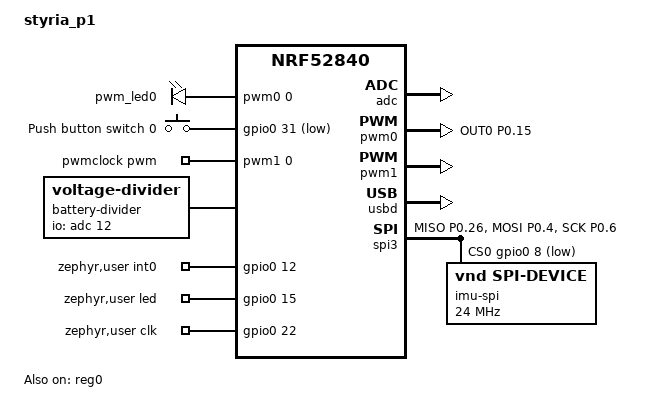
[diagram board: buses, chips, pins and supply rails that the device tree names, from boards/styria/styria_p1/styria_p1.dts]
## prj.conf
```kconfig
#CONFIG_NCS_SAMPLES_DEFAULTS
CONFIG_ASSERT=y
CONFIG_ASSERT_NO_COND_INFO=y
CONFIG_ASSERT_NO_MSG_INFO=y
CONFIG_RESET_ON_FATAL_ERROR=y

CONFIG_NCS_APPLICATION_BOOT_BANNER_STRING="SlimeVR-Tracker-nRF"
#CONFIG_NCS_BOOT_BANNER=n
CONFIG_BOOT_BANNER=n

CONFIG_ESB=y
#need to enable for nRF54L
CONFIG_NRFX_DPPI10=y

CONFIG_ADC=y
CONFIG_ADC_NRFX_SAADC=y
CONFIG_FPU=y
CONFIG_I2C=y
CONFIG_SPI=y
CONFIG_PINCTRL=y

CONFIG_NVS=y
CONFIG_NVS_LOOKUP_CACHE=y
CONFIG_NVS_INIT_BAD_MEMORY_REGION=y

CONFIG_POWEROFF=y
CONFIG_REBOOT=y

CONFIG_FLASH=y
CONFIG_FLASH_PAGE_LAYOUT=y
CONFIG_FLASH_MAP=y

CONFIG_SETTINGS=y
CONFIG_SETTINGS_RUNTIME=y
CONFIG_SETTINGS_NONE=y

CONFIG_MPU_ALLOW_FLASH_WRITE=y

CONFIG_RETAINED_MEM=y

CONFIG_USE_SEGGER_RTT=y
CONFIG_LOG=y
#CONFIG_PRINTK=y
CONFIG_LOG_MODE_DEFERRED=y
CONFIG_LOG_SPEED=y
CONFIG_LOG_BACKEND_RTT=y
CONFIG_CBPRINTF_FP_SUPPORT=y
CONFIG_ADC_LOG_LEVEL_OFF=y
CONFIG_LOG_FUNC_NAME_PREFIX_ERR=y
CONFIG_LOG_BUFFER_SIZE=1536
CONFIG_LOG_BACKEND_UART_AUTOSTART=n
CONFIG_LOG_PROCESS_THREAD_SLEEP_MS=50
CONFIG_LOG_PROCESS_THREAD_STACK_SIZE=1024

CONFIG_PWM=y
CONFIG_GPIO=y

CONFIG_CRC=y

CONFIG_NEWLIB_LIBC=y
CONFIG_NRFX_TIMER1=y

#speed up boot? (use internal rc oscillator)
CONFIG_CLOCK_CONTROL_NRF_K32SRC_RC=y
CONFIG_CLOCK_CONTROL_NRF_K32SRC_RC_CALIBRATION=n
#speed up boot? (synthesize lf clock)
#CONFIG_CLOCK_CONTROL_NRF_K32SRC_SYNTH=y

# dont need it
CONFIG_CRYPTO=n

# set timeout for 25ms, sufficient for ~1000 bytes
CONFIG_I2C_NRFX_TRANSFER_TIMEOUT=25

CONFIG_USB_DEVICE_HID=y
CONFIG_USB_DEVICE_VID=0x1209
CONFIG_USB_DEVICE_PID=0x7692
CONFIG_USB_HID_BOOT_PROTOCOL=y
CONFIG_USB_DEVICE_INITIALIZE_AT_BOOT=n
CONFIG_USB_CDC_ACM=y
CONFIG_UART_INTERRUPT_DRIVEN=y
CONFIG_USB_WORKQUEUE_STACK_SIZE=512

CONFIG_SERIAL=y
CONFIG_CONSOLE=y
CONFIG_RTT_CONSOLE=y
CONFIG_UART_CONSOLE=y
CONFIG_UART_LINE_CTRL=y

CONFIG_LOG=y
CONFIG_USB_DRIVER_LOG_LEVEL_ERR=y
CONFIG_USB_DEVICE_LOG_LEVEL_ERR=y
CONFIG_USB_CDC_ACM_LOG_LEVEL_OFF=y

CONFIG_LOG_BACKEND_UART=y

CONFIG_CONSOLE_SUBSYS=y
CONFIG_CONSOLE_GETLINE=y

CONFIG_NVS_LOG_LEVEL_WRN=y
CONFIG_USB_HID_LOG_LEVEL_WRN=y

CONFIG_USB_DEVICE_SOF=y
CONFIG_USB_HID_REPORTS=256

#CONFIG_USB_HID_POLL_INTERVAL_MS=1
CONFIG_USB_HID_POLL_INTERVAL_MS=0
CONFIG_HID_INTERRUPT_EP_MPS=64
#CONFIG_ENABLE_HID_INT_OUT_EP=y

CONFIG_SYSTEM_WORKQUEUE_STACK_SIZE=256
CONFIG_MAIN_STACK_SIZE=512
#crashing on nrf54l at 512

CONFIG_THREAD_NAME=y

# TODO: because of icm426, this will break things and needs to be raised to at least 3k
CONFIG_HEAP_MEM_POOL_SIZE=2048
CONFIG_ISR_STACK_SIZE=1024

CONFIG_PM_DEVICE=y

CONFIG_USE_SENSOR_CLOCK=y
CONFIG_SENSOR_USE_MAG=n
CONFIG_USE_IMU_WAKE_UP=n
CONFIG_USE_ACTIVE_TIMEOUT=y
CONFIG_ACTIVE_TIMEOUT_DELAY=3600000
CONFIG_SENSOR_LP_TIMEOUT=300000
CONFIG_SENSOR_USE_LOW_POWER_2=n
CONFIG_USER_EXTRA_ACTIONS=y
CONFIG_DISABLE_SENSOR_GPIOS_ON_SHUTDOWN=y
```

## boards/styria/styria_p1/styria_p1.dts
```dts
// Copyright (c) 2024 Nordic Semiconductor ASA
// SPDX-License-Identifier: Apache-2.0

/dts-v1/;
#include <nordic/nrf52840_qiaa.dtsi>

//move to dtsi?
&pinctrl {
	i2c0_default: i2c0_default {
		group1 {
			psels = <NRF_PSEL(TWIM_SDA, 0, 4)>, <NRF_PSEL(TWIM_SCL, 0, 6)>;
			bias-disable;
		};
	};

	i2c0_sleep: i2c0_sleep {
		group1 {
			psels = <NRF_PSEL(TWIM_SDA, 0, 4)>, <NRF_PSEL(TWIM_SCL, 0, 6)>;
			bias-disable;
			low-power-enable;
		};
	};

	pwm0_default: pwm0_default {
		group1 {
			psels = <NRF_PSEL(PWM_OUT0, 0, 15)>;
			nordic,drive-mode = <NRF_DRIVE_D0S1>;
		};
	};

	pwm0_sleep: pwm0_sleep {
		group1 {
			psels = <NRF_PSEL(PWM_OUT0, 0, 15)>;
			low-power-enable;
		};
	};

	pwm1_default: pwm1_default {
		group1 {
			psels = <NRF_PIN_DISCONNECTED>;
		};
	};

	pwm1_sleep: pwm1_sleep {
		group1 {
			psels = <NRF_PIN_DISCONNECTED>;
			low-power-enable;
		};
	};

	spi3_default: spi3_default {
		group1 {
			psels = <NRF_PSEL(SPIM_MISO, 0, 26)>,
					<NRF_PSEL(SPIM_MOSI, 0, 4)>,
					<NRF_PSEL(SPIM_SCK, 0, 6)>;
		};
	};

	spi3_sleep: spi3_sleep {
		group1 {
			psels = <NRF_PSEL(SPIM_MISO, 0, 26)>,
					<NRF_PSEL(SPIM_MOSI, 0, 4)>,
					<NRF_PSEL(SPIM_SCK, 0, 6)>;
			low-power-enable;
		};
	};
};
//end

/ {
	model = "styria_p1";
	compatible = "styria_p1";

	chosen {
		zephyr,sram = &sram0;
		zephyr,flash = &flash0;
		zephyr,console = &cdc_acm_uart0;
		zephyr,shell-uart = &cdc_acm_uart0;
	};

	pwmleds {
		compatible = "pwm-leds";
		pwm_led0: pwm_led_0 {
			pwms = <&pwm0 0 PWM_MSEC(1) PWM_POLARITY_NORMAL>;
		};
	};

	buttons {
		compatible = "gpio-keys";
		button0: button_0 {
			gpios = <&gpio0 31 (GPIO_PULL_UP | GPIO_ACTIVE_LOW)>;
			label = "Push button switch 0";
		};
	};

	aliases {
		sw0 = &button0; // Uncomment to Enable SW0
		pwm-led0 = &pwm_led0;
	};

	pwmclock: pwmclock {
		compatible = "pwm-clock";
		#clock-cells = <1>;
		pwms = <&pwm1 0 PWM_HZ(32768) PWM_POLARITY_NORMAL>;
	};

	battery-divider {
		compatible = "voltage-divider";
		status = "okay";
		io-channels = <&adc 12>; // Measure VDDHDIV5
		output-ohms = <1>;
		full-ohms = <5>;
	};

	zephyr,user {
		int0-gpios = <&gpio0 12 0>;
		led-gpios = <&gpio0 15 GPIO_OPEN_SOURCE>;
		clk-gpios = <&gpio0 22 GPIO_OPEN_DRAIN>; // Uncomment and set to correct pin if using an external clock (crystal oscillator)
	};

};

&reg0 {
	status = "okay";
};

&reg1 {
	regulator-initial-mode = <NRF5X_REG_MODE_DCDC>;
};

&adc {
	status = "okay";
};

&gpiote {
	status = "okay";
};

&gpio0 {
	status = "okay";
};

&gpio1 {
	status = "okay";
};

&pwm0 {
	status = "okay";
	pinctrl-0 = <&pwm0_default>;
	pinctrl-1 = <&pwm0_sleep>;
	pinctrl-names = "default", "sleep";
};

&pwm1 {
	status = "okay";
	pinctrl-0 = <&pwm1_default>;
	pinctrl-1 = <&pwm1_sleep>;
	pinctrl-names = "default", "sleep";
};

zephyr_udc0: &usbd {
	compatible = "nordic,nrf-usbd";
	status = "okay";
	cdc_acm_uart0: cdc_acm_uart0 {
		compatible = "zephyr,cdc-acm-uart";
	};
};

&cryptocell {
	status = "disabled";
};

&nfct {
	status = "disabled";
};

&spi3 {
	compatible = "nordic,nrf-spim";
	status = "okay";
	max-frequency = <DT_FREQ_M(24)>;
	pinctrl-0 = <&spi3_default>;
	pinctrl-1 = <&spi3_sleep>;
	pinctrl-names = "default", "sleep";
	cs-gpios = <&gpio0 8 GPIO_ACTIVE_LOW>;

	imu_spi: imu_spi@0 {
		compatible = "vnd,spi-device";
		spi-max-frequency = <DT_FREQ_M(24)>;
		label = "imu-spi";
		reg = <0>;
	};
};
```

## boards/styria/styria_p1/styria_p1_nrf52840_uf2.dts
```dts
// Copyright (c) 2024 Nordic Semiconductor ASA
// SPDX-License-Identifier: Apache-2.0

/dts-v1/;
#include "styria_p1.dts"
```

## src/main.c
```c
/*
	SlimeVR Code is placed under the MIT license
	Copyright (c) 2025 SlimeVR Contributors

	Permission is hereby granted, free of charge, to any person obtaining a copy
	of this software and associated documentation files (the "Software"), to deal
	in the Software without restriction, including without limitation the rights
	to use, copy, modify, merge, publish, distribute, sublicense, and/or sell
	copies of the Software, and to permit persons to whom the Software is
	furnished to do so, subject to the following conditions:

	The above copyright notice and this permission notice shall be included in
	all copies or substantial portions of the Software.

	THE SOFTWARE IS PROVIDED "AS IS", WITHOUT WARRANTY OF ANY KIND, EXPRESS OR
	IMPLIED, INCLUDING BUT NOT LIMITED TO THE WARRANTIES OF MERCHANTABILITY,
	FITNESS FOR A PARTICULAR PURPOSE AND NONINFRINGEMENT. IN NO EVENT SHALL THE
	AUTHORS OR COPYRIGHT HOLDERS BE LIABLE FOR ANY CLAIM, DAMAGES OR OTHER
	LIABILITY, WHETHER IN AN ACTION OF CONTRACT, TORT OR OTHERWISE, ARISING FROM,
	OUT OF OR IN CONNECTION WITH THE SOFTWARE OR THE USE OR OTHER DEALINGS IN
	THE SOFTWARE.
*/
#include "globals.h"
#include "system/system.h"
//#include "timer.h"
#include "connection/esb.h"
#include "sensor/sensor.h"

#include <zephyr/sys/reboot.h>

#define DFU_DBL_RESET_MEM 0x20007F7C
#define DFU_DBL_RESET_APP 0x4ee5677e

static uint32_t *dbl_reset_mem __attribute__((unused)) = ((uint32_t *)DFU_DBL_RESET_MEM); // retained

LOG_MODULE_REGISTER(main, LOG_LEVEL_INF);

#if DT_NODE_HAS_PROP(DT_ALIAS(sw0), gpios)
#define BUTTON_EXISTS true
#endif

#define DFU_EXISTS CONFIG_BUILD_OUTPUT_UF2 || CONFIG_BOARD_HAS_NRF5_BOOTLOADER
#define ADAFRUIT_BOOTLOADER CONFIG_BUILD_OUTPUT_UF2

int main(void)
{
#if DT_NODE_HAS_PROP(ZEPHYR_USER_NODE, pwr_gpios)
    gpio_pin_configure_dt(&gnd, GPIO_OUTPUT_ACTIVE);
    gpio_pin_set_dt(&gnd, 0);
    gpio_pin_configure_dt(&pwr, GPIO_OUTPUT_ACTIVE);
    gpio_pin_set_dt(&pwr, 1);
#endif
#if IGNORE_RESET && BUTTON_EXISTS
	bool reset_pin_reset = false;
#else
#ifdef NRF_RESET
	bool reset_pin_reset = NRF_RESET->RESETREAS & RESET_RESETREAS_RESETPIN_Msk;
	NRF_RESET->RESETREAS = NRF_RESET->RESETREAS; // Clear RESETREAS
#else
	bool reset_pin_reset = NRF_POWER->RESETREAS & POWER_RESETREAS_RESETPIN_Msk;
	NRF_POWER->RESETREAS = NRF_POWER->RESETREAS; // Clear RESETREAS
#endif
#endif

	set_led(SYS_LED_PATTERN_ON, SYS_LED_PRIORITY_BOOT); // Boot LED

	uint8_t reboot_counter = reboot_counter_read();
	bool booting_from_shutdown = !reboot_counter && (reset_pin_reset || button_read()); // 0 means from user shutdown or failed ram validation

	/* if button is not held after booting from shutdown, power off again
	 * if button press is normal, continue boot
	 * if button is held for 5 seconds, reset pairing and continue boot
	 */

	if (button_read())
	{
		while (button_read())
		{
			if (k_uptime_get() > 1000)
				set_led(SYS_LED_PATTERN_LONG, SYS_LED_PRIORITY_HIGHEST);
			if (k_uptime_get() > 5000)
			{
				LOG_INF("Pairing requested");
				esb_reset_pair();
				break;
			}
			k_msleep(1);
		}
#if USER_SHUTDOWN_ENABLED
		if (k_uptime_get() < 50 && booting_from_shutdown) // debounce
			sys_request_system_off();
#endif
		if (k_uptime_get() <= 5000)
			set_led(SYS_LED_PATTERN_ONESHOT_POWERON, SYS_LED_PRIORITY_HIGHEST);
		else
			set_led(SYS_LED_PATTERN_OFF, SYS_LED_PRIORITY_HIGHEST);
	}
	else if (booting_from_shutdown)
		set_led(SYS_LED_PATTERN_ONESHOT_POWERON, SYS_LED_PRIORITY_BOOT);

	bool docked = dock_read();

	uint8_t reset_mode = -1;

	if (reboot_counter == 0)
		reboot_counter = 100;
	else if (reboot_counter > 200)
		reboot_counter = 200; // How did you get here
	reset_mode = reboot_counter - 100;
	if (reset_pin_reset && !docked) // Count pin resets while not docked
	{
		reboot_counter++;
		reboot_counter_write(reboot_counter);
		LOG_INF("Reset count: %u", reboot_counter);
#if ADAFRUIT_BOOTLOADER && !(IGNORE_RESET && BUTTON_EXISTS) // Using Adafruit bootloader, skip DFU if reset button is in use
		(*dbl_reset_mem) = DFU_DBL_RESET_APP; // Skip DFU
#endif
		k_msleep(1000); // Wait before clearing counter and continuing
	}
	reboot_counter_write(100);
	if (!reset_pin_reset && reset_mode == 0) // Only need to check once, if the button is pressed again an interrupt is triggered from before
		reset_mode = -1; // Cancel reset_mode (shutdown)

#if USER_SHUTDOWN_ENABLED
	bool charging = chg_read();
	bool charged = stby_read();
	bool plugged = vin_read();

	if (reset_mode == 0 && !booting_from_shutdown && !charging && !charged && !plugged) // Reset mode user shutdown, only if unplugged and undocked
		sys_user_shutdown();
#endif

	if (!booting_from_shutdown) // ONESHOT_POWERON automatically sets LED off
		set_led(SYS_LED_PATTERN_OFF, SYS_LED_PRIORITY_BOOT);

	sys_reset_mode(reset_mode);

	// Perform ICM45686 startup health check after system initialization
	// This helps catch clock issues early, especially after deep sleep wake-up or USB reconnection
	sensor_imu_startup_check();

	return 0;
}
```

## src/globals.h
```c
/*
	SlimeVR Code is placed under the MIT license
	Copyright (c) 2025 SlimeVR Contributors

	Permission is hereby granted, free of charge, to any person obtaining a copy
	of this software and associated documentation files (the "Software"), to deal
	in the Software without restriction, including without limitation the rights
	to use, copy, modify, merge, publish, distribute, sublicense, and/or sell
	copies of the Software, and to permit persons to whom the Software is
	furnished to do so, subject to the following conditions:

	The above copyright notice and this permission notice shall be included in
	all copies or substantial portions of the Software.

	THE SOFTWARE IS PROVIDED "AS IS", WITHOUT WARRANTY OF ANY KIND, EXPRESS OR
	IMPLIED, INCLUDING BUT NOT LIMITED TO THE WARRANTIES OF MERCHANTABILITY,
	FITNESS FOR A PARTICULAR PURPOSE AND NONINFRINGEMENT. IN NO EVENT SHALL THE
	AUTHORS OR COPYRIGHT HOLDERS BE LIABLE FOR ANY CLAIM, DAMAGES OR OTHER
	LIABILITY, WHETHER IN AN ACTION OF CONTRACT, TORT OR OTHERWISE, ARISING FROM,
	OUT OF OR IN CONNECTION WITH THE SOFTWARE OR THE USE OR OTHER DEALINGS IN
	THE SOFTWARE.
*/
#ifndef SLIMENRF_GLOBALS
#define SLIMENRF_GLOBALS

#include <zephyr/logging/log.h>

#include "retained.h"

#define USER_SHUTDOWN_ENABLED CONFIG_USER_SHUTDOWN // Allow user to use reset or sw0 to shutdown
#define MAG_ENABLED CONFIG_SENSOR_USE_MAG // Use magnetometer if it is present
#define IGNORE_RESET CONFIG_IGNORE_RESET // If sw0 available, don't change any reset behavior
#define WOM_USE_DCDC CONFIG_WOM_USE_DCDC // Use DCDC instead of LDO for WOM if it is more efficient

/* Sensor gyroscope, accelerometer, and magnetometer axes should align to the IMU body axes
 * SENSOR_QUATERNION_CORRECTION should align the sensor to the device following Android convention
 * On flat surface / face up:
 * Left from the perspective of the device / right from your perspective is +X
 * Front side (facing up) is +Z
 * Mounted on body / standing up:
 * Top side of the device is +Y
 * Front side (facing out) is +Z
 */

// TODO: not matching anymore
#if defined(CONFIG_BOARD_SLIMEVRMINI_P1_UF2) || defined(CONFIG_BOARD_SLIMEVRMINI_P2_UF2)
#define SENSOR_MAGNETOMETER_AXES_ALIGNMENT -mx, mz, -my
#define SENSOR_QUATERNION_CORRECTION 0.7071f, 0.7071f, 0.0f, 0.0f
#endif
#if defined(CONFIG_BOARD_SLIMEVRMINI_P4_UF2)
#define SENSOR_GYROSCOPE_AXES_ALIGNMENT gx, gy, gz
#define SENSOR_ACCELEROMETER_AXES_ALIGNMENT ax, ay, az
#define SENSOR_MAGNETOMETER_AXES_ALIGNMENT my, -mx, -mz
#define SENSOR_QUATERNION_CORRECTION 0.7071f, 0.0f, 0.0f, 0.7071f
#elif defined(CONFIG_BOARD_STYRIA_MINI_UF2)
#define SENSOR_QUATERNION_CORRECTION 0.0f, 0.0f, 0.0f, 1.0f
#endif

#if defined(CONFIG_BOARD_SLIMENRF_R1) || defined(CONFIG_BOARD_SLIMENRF_R2) || defined(CONFIG_BOARD_SLIMENRF_R3)
#define SENSOR_QUATERNION_CORRECTION 0.0f, 0.7071f, 0.7071f, 0.0f
#endif

#if defined(CONFIG_BOARD_PROMICRO_UF2)
#define SENSOR_QUATERNION_CORRECTION 0.7071f, 0.0f, 0.0f, -0.7071f
#endif

#ifndef SENSOR_MAGNETOMETER_AXES_ALIGNMENT
#define SENSOR_MAGNETOMETER_AXES_ALIGNMENT my, mx, mz // mag axes alignment to sensor body
#endif
#ifndef SENSOR_QUATERNION_CORRECTION
#define SENSOR_QUATERNION_CORRECTION 0.0f, 0.7071f, 0.7071f, 0.0f // correction quat for sensor to mounting orientation
#endif

#endif
```
